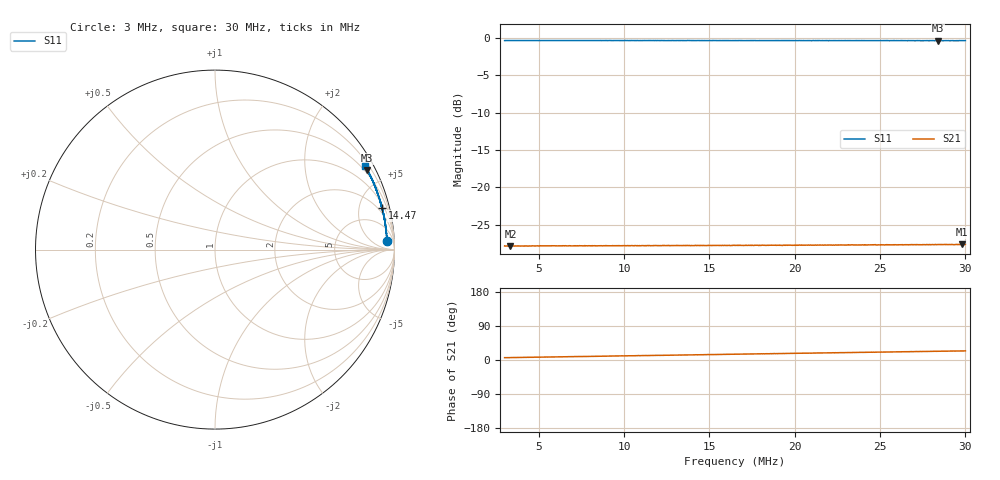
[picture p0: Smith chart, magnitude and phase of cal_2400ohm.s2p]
# HZ S RI R 50
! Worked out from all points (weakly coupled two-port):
!   1023 points, 3 MHz to 30 MHz, reference 50 ohm
!   highest |S21| = -27.63 dB at 29.79 MHz (marker M1); lowest = -27.9 dB at 3.343 MHz (marker M2)
!   lowest |S11| = -0.4 dB at 28.39 MHz (marker M3), VSWR 44.94, Z = 19.6 + j203 ohm
!   |S11| at or under -10 dB: nowhere
!   S12 and S22 are empty: the file has one direction only
!   S11 on the Smith chart (normalised r, x): 3 MHz: 19, +23; 14.47 MHz: 1.38, +7.91; 30 MHz: 0.34, +3.83
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3000000  0.9567 0.0487  0.0403 0.00432  0 0  0 0
3343447  0.9579 0.054  0.0402 0.00443  0 0  0 0
5430548  0.9558 0.0887  0.0403 0.0056  0 0  0 0
5826833  0.9548 0.0958  0.0402 0.00569  0 0  0 0
7517649  0.9514 0.1222  0.0401 0.0065  0 0  0 0
9525493  0.9471 0.1538  0.04 0.00749  0 0  0 0
9816102  0.9467 0.1595  0.0401 0.00757  0 0  0 0
1.200888e7  0.9395 0.1946  0.0398 0.00874  0 0  0 0
1.446585e7  0.9302 0.2318  0.0396 0.00983  0 0  0 0
1.618308e7  0.923 0.2591  0.0396 0.0105  0 0  0 0
1.650011e7  0.921 0.2648  0.0394 0.0109  0 0  0 0
1.708133e7  0.9186 0.2745  0.0394 0.0111  0 0  0 0
1.893066e7  0.9104 0.3018  0.0392 0.0119  0 0  0 0
2.001384e7  0.9038 0.3186  0.0391 0.0125  0 0  0 0
2.101776e7  0.8982 0.3338  0.039 0.013  0 0  0 0
2.16254e7  0.8966 0.343  0.0389 0.0131  0 0  0 0
2.307844e7  0.8875 0.3641  0.0388 0.0138  0 0  0 0
2.381817e7  0.8818 0.3759  0.0386 0.0142  0 0  0 0
2.550899e7  0.8708 0.4002  0.0385 0.0149  0 0  0 0
2.838866e7  0.8486 0.4413  0.0381 0.0162  0 0  0 0
2.978887e7  0.8381 0.4629  0.038 0.0169  0 0  0 0
3.000022e7  0.8375 0.4652  0.0379 0.0169  0 0  0 0
